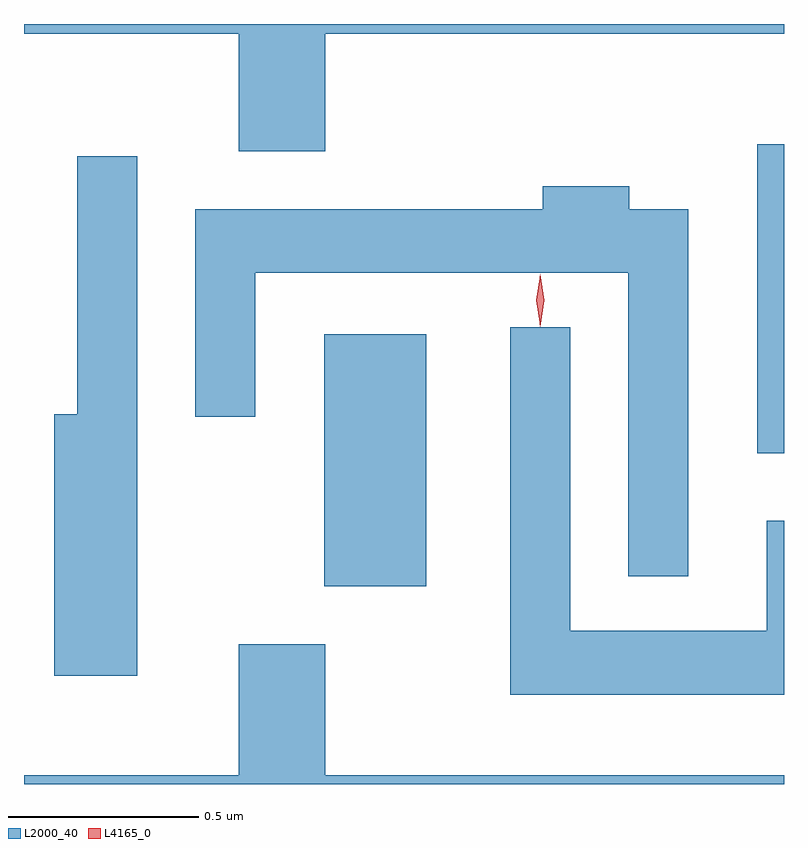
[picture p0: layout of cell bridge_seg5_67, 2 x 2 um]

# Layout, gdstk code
import gdstk
lib = gdstk.Library(unit=1e-6, precision=1e-09)
def R(c, l, rs):  # rectangles x0, y0, x1, y1
    for r in rs: c.add(gdstk.rectangle(r[:2], r[2:], *l))
def P(c, l, *ps):  # polygons
    for p in ps: c.add(gdstk.Polygon(p, *l))
L2000_40 = (2000, 40)
L4165_0 = (4165, 0)

bridge_seg5_67 = lib.new_cell('bridge_seg5_67')
R(bridge_seg5_67, L2000_40, [(1301.956,1470.881,1302.224,1471.544), (1303.096,1471.231,1303.166,1472.044)])
P(bridge_seg5_67, L2000_40, [(1301.166,1472.336),(1301.731,1472.336),(1301.731,1472.026),(1301.959,1472.026),(1301.959,1472.336),(1303.166,1472.336),(1303.166,1472.361),(1301.166,1472.361)],
  [(1301.464,1472.013),(1301.306,1472.013),(1301.306,1471.334),(1301.246,1471.334),(1301.246,1470.646),(1301.464,1470.646)],
  [(1302.914,1471.874),(1302.759,1471.874),(1302.759,1471.934),(1302.531,1471.934),(1302.531,1471.874),(1301.616,1471.874),(1301.616,1471.328),(1301.774,1471.328),(1301.774,1471.706),(1302.756,1471.706),(1302.756,1470.908),(1302.914,1470.908)],
  [(1303.166,1471.054),(1303.121,1471.054),(1303.121,1470.764),(1302.604,1470.764),(1302.604,1471.563),(1302.446,1471.563),(1302.446,1470.596),(1303.166,1470.596)],
  [(1303.166,1470.384),(1301.959,1470.384),(1301.959,1470.729),(1301.731,1470.729),(1301.731,1470.384),(1301.166,1470.384),(1301.166,1470.361),(1303.166,1470.361)])
P(bridge_seg5_67, L4165_0, [(1302.524,1471.564),(1302.515,1471.634),(1302.524,1471.702),(1302.525,1471.703),(1302.525,1471.702),(1302.535,1471.634),(1302.525,1471.564),(1302.525,1471.564)],
  [(1302.524,1471.567),(1302.524,1471.568),(1302.514,1471.634),(1302.524,1471.7),(1302.524,1471.7),(1302.525,1471.7),(1302.534,1471.634),(1302.525,1471.568)])

lib.write_gds('bridge_seg5_67.gds')
